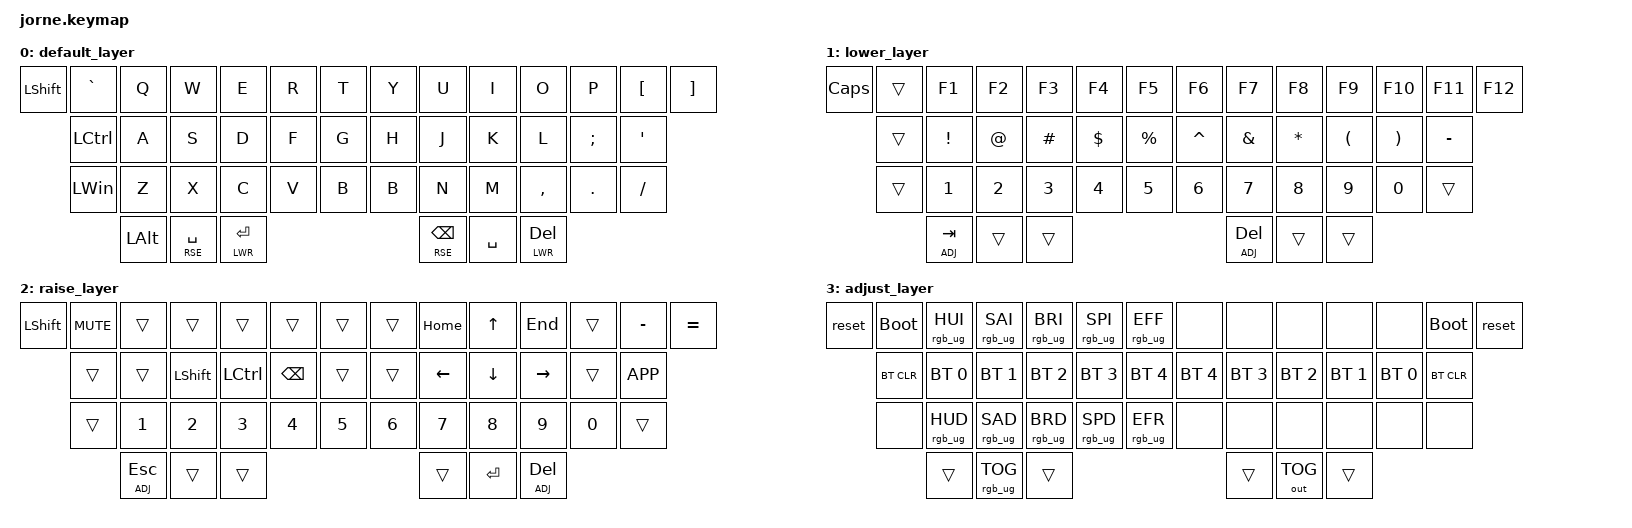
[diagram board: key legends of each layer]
/*
 * Copyright (c) 2020 The ZMK Contributors
 *
 * SPDX-License-Identifier: MIT
 */
#include <dt-bindings/led/led.h>
#include <behaviors.dtsi>
#include <dt-bindings/zmk/keys.h>
#include <dt-bindings/zmk/bt.h>
#include <dt-bindings/zmk/outputs.h>
#include <dt-bindings/zmk/rgb.h>

#define DEF 0
#define LWR 1
#define RSE 2
#define ADJ 3


&spi1 {
	compatible = "nordic,nrf-spim";
	/* Cannot be used together with i2c0. */
	status = "okay";
	mosi-pin = <6>;
	// Unused pins, needed for SPI definition, but not used by the ws2812 dri r itself.
	sck-pin = <5>;
	miso-pin = <7>;

	led_strip: ws2812@0 {
		compatible = "worldsemi,ws2812-spi";
		label = "WS2812";

		/* SPI */
		reg = <0>; /* ignored, but necessary for SPI bindings */
		spi-max-frequency = <4000000>;

		/* WS2812 */
		chain-length = <6>; /* There are per-key RGB, but the first 6 are underglow */
		spi-one-frame = <0x70>;
		spi-zero-frame = <0x40>;
		color-mapping = <LED_COLOR_ID_GREEN LED_COLOR_ID_RED LED_COLOR_ID_BLUE>;
	};
};

/ {
    chosen {
		zmk,underglow = &led_strip;
	};

        keymap {
                compatible = "zmk,keymap";

                default_layer {
// -----------------------------------------------------------------------------------------
// | SHFT |   ~  |  Q  |  W  |  E  |  R      |  T      |   |  Y       |  U  |  I      |  O  |  P  |  [  |  ]  |
//        | CTRL |  A  |  S  |  D  |  F      |  G      |   |  H       |  J  |  K      |  L  |  ;  |  '  |
//        |  GUI |  Z  |  X  |  C  |  V      |  B      |   |  B       |  N  |  M      |  ,  |  .  |  /  |
//                           | ALT | SPC/RSE | RET/LWR |   | BKSP/RSE | SPC | DEL/LWR |
                        bindings = <
   &kp LSHFT &kp GRAVE &kp Q  &kp W  &kp E  &kp R  &kp T     &kp Y  &kp U  &kp I  &kp O      &kp P    &kp LBKT &kp RBKT
             &kp LCTRL &kp A  &kp S  &kp D  &kp F  &kp G     &kp H  &kp J  &kp K  &kp L      &kp SEMI &kp SQT
             &kp LWIN  &kp Z  &kp X  &kp C  &kp V  &kp B     &kp B  &kp N  &kp M  &kp COMMA  &kp DOT  &kp FSLH 
                    &kp LALT  &lt RSE SPACE  &lt LWR RET     &lt RSE BKSP  &kp SPACE  &lt LWR DEL
                        >;
                };
		
                lower_layer {
// -----------------------------------------------------------------------------------------
// | CAPS|     |  F1 |  F2 |  F3 |  F4 |  F5 |   |  F6 |  F7 |  F8 |  F9 | F10 | F11 | F12 |
//       |     |  !  |  @  |  #  |  $  |  %  |   |  ^  |  &  |  *  |  (  |  )  |  -  |
//       |     |  1  |  2  |  3  |  4  |  5  |   |  6  |  7  |  8  |  9  |  0  |     |
//                         | ADJ |     |     |   | ADJ |     |     |
                        bindings = <
   &kp CAPS  &trans &kp F1   &kp F2 &kp F3   &kp F4   &kp F5       &kp F6    &kp F7   &kp F8   &kp F9   &kp F10  &kp F11 &kp F12
             &trans &kp EXCL &kp AT &kp HASH &kp DLLR &kp PRCNT    &kp CARET &kp AMPS &kp STAR &kp LPAR &kp RPAR &kp MINUS
             &trans &kp N1   &kp N2  &kp N3  &kp N4  &kp N5        &kp N6    &kp N7   &kp N8   &kp N9   &kp N0   &trans
                                 &lt ADJ TAB &trans &trans         &lt ADJ DEL  &trans &trans 
                        >;
                };

                raise_layer {
// -----------------------------------------------------------------------------------------
// | SFHT| MUT |     |     |     |     |     |   |     | HOME|  UP     | END |     |  -  |  =  |
//       |     |     | SHFT| CTRL| BKSP|     |   |     | LEFT| DOWN    | RGHT|     | APP |
//       |     |  1  |  2  |  3  |  4  |  5  |   |  6  |  7  |  8      |  9  |  0  |     |
//                         | ADJ |     |     |   |     | RET | DEL/ADJ |
                        bindings = <
   &kp LSHFT  &kp C_MUTE &trans  &trans     &trans     &trans    &trans      &trans  &kp HOME  &kp UP    &kp END    &trans &kp MINUS  &kp EQUAL
              &trans     &trans  &kp LSHFT  &kp LCTRL  &kp BKSP  &trans      &trans  &kp LEFT  &kp DOWN  &kp RIGHT  &trans &kp K_APP
              &trans     &kp N1  &kp N2     &kp N3     &kp N4    &kp N5      &kp N6  &kp N7    &kp N8    &kp N9     &kp N0 &trans
                                             &lt ADJ ESC  &trans &trans      &trans  &kp RET   &lt ADJ DEL
                        >;
                };
		
                adjust_layer {
// -----------------------------------------------------------------------------------------
// | RST | BLDR | HI  | SI  | BI  | PI  | EF  |   |     |     |     |     |     | BLDR | RST |
//       | BTCLR| BT0 | BT1 | BT2 | BT3 | BT4 |   | BT4 | BT3 | BT2 | BT1 | BT0 | BTCLR|
//       |      | HD  | SD  | BD  | PD  | ER  |   |     |     |     |     |     |      |
//                          |     | RGB |     |   |     | OUT |     |
                        bindings = <
   &reset &bootloader  &rgb_ug RGB_HUI        &rgb_ug RGB_SAI        &rgb_ug RGB_BRI        &rgb_ug RGB_SPI        &rgb_ug RGB_EFF              &none        &none        &none        &none        &none         &bootloader &reset
          &bt BT_CLR   &bt BT_SEL 0 &bt BT_SEL 1 &bt BT_SEL 2 &bt BT_SEL 3 &bt BT_SEL 4       &bt BT_SEL 4 &bt BT_SEL 3 &bt BT_SEL 2 &bt BT_SEL 1 &bt BT_SEL 0  &bt BT_CLR
          &none        &rgb_ug RGB_HUD        &rgb_ug RGB_SAD        &rgb_ug RGB_BRD        &rgb_ug RGB_SPD        &rgb_ug RGB_EFR              &none        &none        &none        &none        &none         &none
                                                                    &trans &rgb_ug RGB_TOG &trans   &trans &out OUT_TOG &trans
                        >;
                };
        };
};
